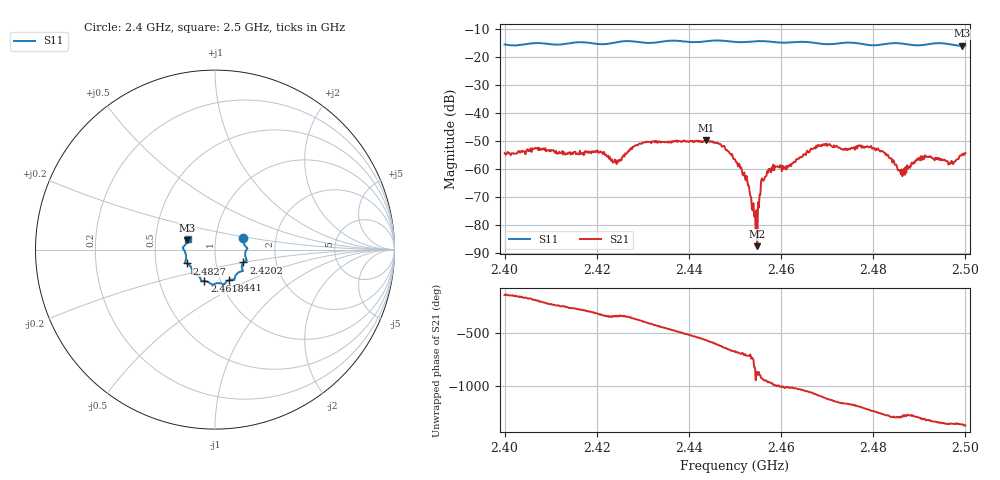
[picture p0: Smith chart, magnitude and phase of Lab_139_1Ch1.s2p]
# Hz S RI R 50
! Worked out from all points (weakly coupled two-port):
!   601 points, 2.4 GHz to 2.5 GHz, reference 50 ohm
!   highest |S21| = -49.63 dB at 2.4437 GHz (marker M1); lowest = -87.5 dB at 2.4548 GHz (marker M2)
!   lowest |S11| = -15.8 dB at 2.4993 GHz (marker M3), VSWR 1.39, Z = 36.5 + j3.83 ohm
!   |S11| at or under -10 dB: start of sweep to end of sweep
!   S12 and S22 are empty: the file has one direction only
!   S11 on the Smith chart (normalised r, x): 2.4 GHz: 1.36, +0.18; 2.4202 GHz: 1.36, -0.20; 2.441 GHz: 1.10, -0.39; 2.4618 GHz: 0.84, -0.30; 2.4827 GHz: 0.72, -0.12; 2.5 GHz: 0.73, +0.09
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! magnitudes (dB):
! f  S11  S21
! 2.4 GHz  -15.4  -54.2
! 2.4167 GHz  -14.5  -54.4
! 2.4202 GHz  -15.2  -53.2
! 2.4242 GHz  -14.6  -57.6
! 2.4333 GHz  -14.5  -50.1
! 2.441 GHz  -14.6  -50.3
! 2.4437 GHz  -14.2  -49.6
! 2.45 GHz  -14.4  -56.4
! 2.4525 GHz  -14.5  -62.3
! 2.4543 GHz  -14.2  -75.8
! 2.4548 GHz  -14.2  -87.5
! 2.4558 GHz  -14.2  -63.3
! 2.4572 GHz  -14.3  -61.2
! 2.4618 GHz  -14.6  -58.4
! 2.4667 GHz  -14.6  -52.8
! 2.4827 GHz  -15.2  -54.8
! 2.4833 GHz  -15.0  -55.4
! 2.4863 GHz  -15.0  -62.5
! 2.4902 GHz  -15.6  -56.8
! 2.4968 GHz  -15.3  -57.8
! 2.4993 GHz  -15.8  -54.6
! 2.5 GHz  -15.7  -54.2
